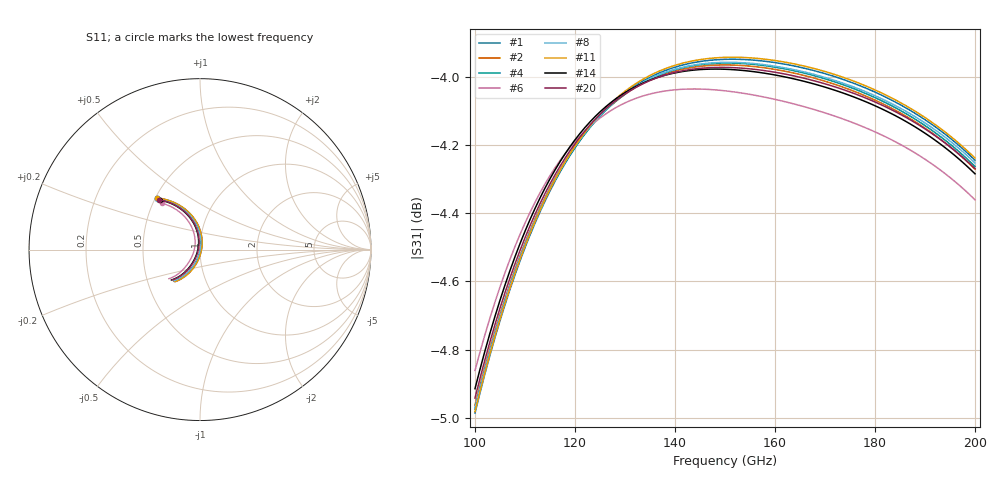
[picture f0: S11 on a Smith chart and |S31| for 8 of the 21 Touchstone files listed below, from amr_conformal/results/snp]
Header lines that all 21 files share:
! Created with skrf 2.1.0 (http://scikit-rf.org).
# GHz S DB R 50.0
! Port[1] = P1
! Port[2] = P2
! Port[3] = P3
!freq dBS11 angS11 dBS12 angS12 dBS13 angS13
! dBS21 angS21 dBS22 angS22 dBS23 angS23
! dBS31 angS31 dBS32 angS32 dBS33 angS33
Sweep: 100 GHz to 200 GHz
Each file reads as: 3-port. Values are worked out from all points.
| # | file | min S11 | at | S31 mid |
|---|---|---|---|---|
| 1 | amrc_f150_uf03_s2.s3p | -41.4 dB | 148 GHz | -3.9 dB at 150 GHz |
| 2 | amrc_f150_uf05_p3_s2.s3p | -55.7 dB | 147 GHz | -4.0 dB at 150 GHz |
| 3 | amrc_f150_uf07_s2.s3p | -52.9 dB | 147 GHz | -4.0 dB at 150 GHz |
| 4 | amrc_uf03_full.s3p | -48.4 dB | 147 GHz | -4.0 dB at 150 GHz |
| 5 | amrc_uf03_full_pass1.s3p | -20.6 dB | 131 GHz | -4.1 dB at 150 GHz |
| 6 | amrc_uf03_full_pass2.s3p | -29.7 dB | 140 GHz | -4.0 dB at 150 GHz |
| 7 | amrc_uf03_full_pass3.s3p | -42.8 dB | 146 GHz | -4.0 dB at 150 GHz |
| 8 | amrc_uf07_full.s3p | -52.8 dB | 147 GHz | -4.0 dB at 150 GHz |
| 9 | amrc_uf07_full_pass1.s3p | -20.6 dB | 131 GHz | -4.1 dB at 150 GHz |
| 10 | amrc_uf07_full_pass2.s3p | -32.2 dB | 143 GHz | -4.0 dB at 150 GHz |
| 11 | amrnc_full.s3p | -40.8 dB | 148 GHz | -3.9 dB at 150 GHz |
| 12 | amrnc_full_pass1.s3p | -20.6 dB | 131 GHz | -4.1 dB at 150 GHz |
| 13 | amrnc_full_pass2.s3p | -27.0 dB | 139 GHz | -4.0 dB at 150 GHz |
| 14 | amrnc_full_pass3.s3p | -38.0 dB | 144 GHz | -4.0 dB at 150 GHz |
| 15 | amrnc_full_pass4.s3p | -52.0 dB | 147 GHz | -4.0 dB at 150 GHz |
| 16 | amrnc_full_realcs.s3p | -52.0 dB | 147 GHz | -4.0 dB at 150 GHz |
| 17 | amrnc_full_realcs_pass1.s3p | -20.6 dB | 131 GHz | -4.1 dB at 150 GHz |
| 18 | amrnc_full_realcs_pass2.s3p | -27.0 dB | 139 GHz | -4.0 dB at 150 GHz |
| 19 | amrnc_full_realcs_pass3.s3p | -38.0 dB | 144 GHz | -4.0 dB at 150 GHz |
| 20 | mesh1_ref.s3p | -40.4 dB | 146 GHz | -4.0 dB at 150 GHz |
| 21 | mesh5_ref.s3p | -20.6 dB | 131 GHz | -4.1 dB at 150 GHz |
